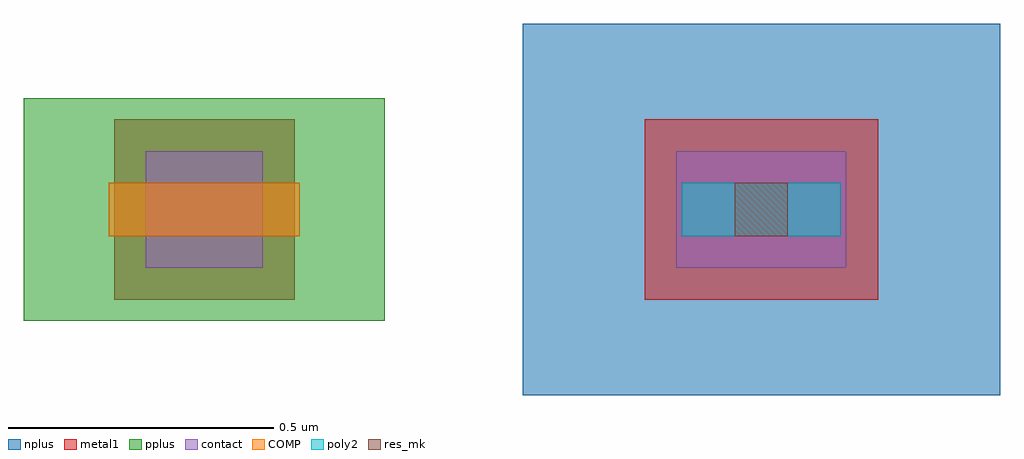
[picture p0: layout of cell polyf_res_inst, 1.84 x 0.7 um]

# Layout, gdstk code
import gdstk
lib = gdstk.Library(unit=1e-6, precision=1e-09)
def R(c, l, rs):  # rectangles x0, y0, x1, y1
    for r in rs: c.add(gdstk.rectangle(r[:2], r[2:], *l))
COMP = (22, 0)
poly2 = (30, 0)
pplus = (31, 0)
nplus = (32, 0)
contact = (33, 0)
metal1 = (34, 0)
res_mk = (110, 5)

compass_43289b1a = lib.new_cell('compass_43289b1a')
R(compass_43289b1a, res_mk, [(-0.05,-0.05,0.05,0.05)])

rectangle_43289b1a = lib.new_cell('rectangle_43289b1a')
rectangle_43289b1a.add(gdstk.Reference(compass_43289b1a, (0.05,0.05)))

compass_a11f0acd = lib.new_cell('compass_a11f0acd')
R(compass_a11f0acd, poly2, [(-0.15,-0.05,0.15,0.05)])

rectangle_a11f0acd = lib.new_cell('rectangle_a11f0acd')
rectangle_a11f0acd.add(gdstk.Reference(compass_a11f0acd, (0.15,0.05)))

compass_f38dc993 = lib.new_cell('compass_f38dc993')
R(compass_f38dc993, contact, [(-0.11,-0.11,0.11,0.11)])

rectangle_f38dc993 = lib.new_cell('rectangle_f38dc993')
rectangle_f38dc993.add(gdstk.Reference(compass_f38dc993, (0.11,0.11)))

via_generator_00b8456f = lib.new_cell('via_generator_00b8456f')
r = gdstk.Reference(rectangle_f38dc993, (-0.11,-0.06)); r.repetition = gdstk.Repetition(1, 1, v1=(0.5,0), v2=(0,0.5)); via_generator_00b8456f.add(r)

compass_02b66c81 = lib.new_cell('compass_02b66c81')
R(compass_02b66c81, metal1, [(-0.17,-0.17,0.17,0.17)])

rectangle_02b66c81 = lib.new_cell('rectangle_02b66c81')
rectangle_02b66c81.add(gdstk.Reference(compass_02b66c81, (0.17,0.17)))

via_stack_7a4b11fc = lib.new_cell('via_stack_7a4b11fc')
via_stack_7a4b11fc.add(gdstk.Reference(via_generator_00b8456f, (0,0)))
via_stack_7a4b11fc.add(gdstk.Reference(rectangle_02b66c81, (-0.17,-0.12)))

compass_d3c20798 = lib.new_cell('compass_d3c20798')
R(compass_d3c20798, nplus, [(-0.45,-0.35,0.45,0.35)])

rectangle_d3c20798 = lib.new_cell('rectangle_d3c20798')
rectangle_d3c20798.add(gdstk.Reference(compass_d3c20798, (0.45,0.35)))

compass_9d2fae97 = lib.new_cell('compass_9d2fae97')
R(compass_9d2fae97, COMP, [(-0.18,-0.05,0.18,0.05)])

rectangle_9d2fae97 = lib.new_cell('rectangle_9d2fae97')
rectangle_9d2fae97.add(gdstk.Reference(compass_9d2fae97, (0.18,0.05)))

via_generator_6a2c0181 = lib.new_cell('via_generator_6a2c0181')
r = gdstk.Reference(rectangle_f38dc993, (-1.11,-0.06)); r.repetition = gdstk.Repetition(1, 1, v1=(0.5,0), v2=(0,0.5)); via_generator_6a2c0181.add(r)

compass_644ede05 = lib.new_cell('compass_644ede05')
R(compass_644ede05, metal1, [(-0.17,-0.17,0.17,0.17)])

rectangle_644ede05 = lib.new_cell('rectangle_644ede05')
rectangle_644ede05.add(gdstk.Reference(compass_644ede05, (0.17,0.17)))

via_stack_396d9c8d = lib.new_cell('via_stack_396d9c8d')
via_stack_396d9c8d.add(gdstk.Reference(via_generator_6a2c0181, (0,0)))
via_stack_396d9c8d.add(gdstk.Reference(rectangle_644ede05, (-1.17,-0.12)))

compass_9f4ba333 = lib.new_cell('compass_9f4ba333')
R(compass_9f4ba333, pplus, [(-0.34,-0.21,0.34,0.21)])

rectangle_9f4ba333 = lib.new_cell('rectangle_9f4ba333')
rectangle_9f4ba333.add(gdstk.Reference(compass_9f4ba333, (0.34,0.21)))

polyf_res_inst = lib.new_cell('polyf_res_inst')
polyf_res_inst.add(gdstk.Reference(rectangle_43289b1a, (0,0)))
polyf_res_inst.add(gdstk.Reference(rectangle_a11f0acd, (-0.1,0)))
r = gdstk.Reference(via_stack_7a4b11fc, (0,0)); r.repetition = gdstk.Repetition(2, 1, v1=(0.1,0), v2=(0,1)); polyf_res_inst.add(r)
polyf_res_inst.add(gdstk.Reference(rectangle_d3c20798, (-0.4,-0.3)))
polyf_res_inst.add(gdstk.Reference(rectangle_9d2fae97, (-1.18,0)))
polyf_res_inst.add(gdstk.Reference(via_stack_396d9c8d, (0,0)))
polyf_res_inst.add(gdstk.Reference(rectangle_9f4ba333, (-1.34,-0.16)))

lib.write_gds('polyf_res_inst.gds')
